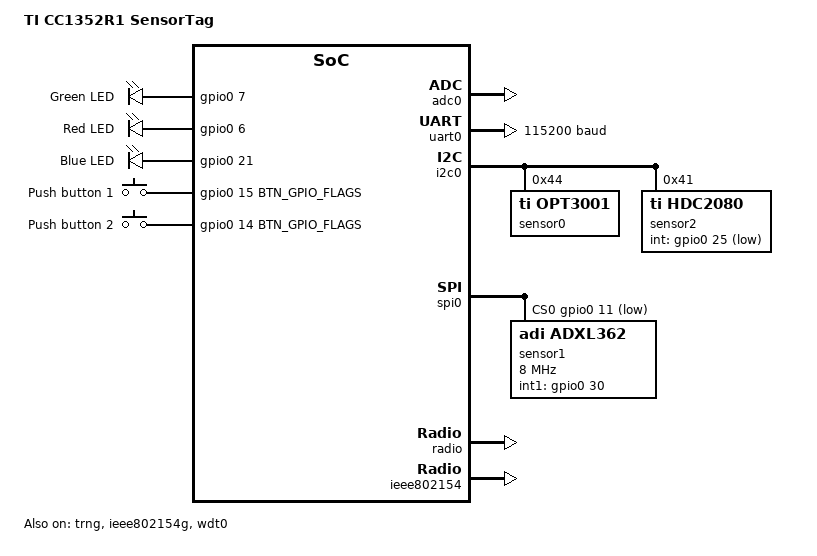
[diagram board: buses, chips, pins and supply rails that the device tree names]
/*
 * Copyright (c) 2019 Brett Witherspoon
 * Copyright (c) 2020 Friedt Professional Engineering Services, Inc
 *
 * SPDX-License-Identifier: Apache-2.0
 */

/dts-v1/;

#include <ti/cc1352r.dtsi>
#include "../common/boosterpack_connector.dtsi"
#include "cc1352r_sensortag-pinctrl.dtsi"
#include <zephyr/dt-bindings/input/input-event-codes.h>

#define BTN_GPIO_FLAGS (GPIO_ACTIVE_LOW | GPIO_PULL_UP)

/ {
	model = "TI CC1352R1 SensorTag";
	compatible = "ti,sensortag-cc1352r";

	aliases {
		led0 = &led0;
		led1 = &led1;
		led2 = &led2;
		sw0 = &btn0;
		sw1 = &btn1;
		sensor0 = &sensor0;
		sensor1 = &sensor1;
		sensor2 = &sensor2;
		accel0 = &sensor1;
		watchdog0 = &wdt0;
		mcuboot-led0 = &led1;
		mcuboot-button0 = &btn1;
	};

	chosen {
		zephyr,sram = &sram0;
		zephyr,flash = &flash0;
		zephyr,console = &uart0;
		zephyr,shell-uart = &uart0;
		zephyr,ieee802154 = &ieee802154;
		zephyr,code-partition = &slot0_partition;
	};

	leds {
		compatible = "gpio-leds";

		led0: led_0 {
			gpios = <&gpio0 7 GPIO_ACTIVE_HIGH>;
			label = "Green LED";
		};

		led1: led_1 {
			gpios = <&gpio0 6 GPIO_ACTIVE_HIGH>;
			label = "Red LED";
		};

		led2: led_2 {
			gpios = <&gpio0 21 GPIO_ACTIVE_HIGH>;
			label = "Blue LED";
		};
	};

	keys {
		compatible = "gpio-keys";

		btn0: btn_0 {
			gpios = <&gpio0 15 BTN_GPIO_FLAGS>;
			label = "Push button 1";
			zephyr,code = <INPUT_KEY_0>;
		};

		btn1: btn_1 {
			gpios = <&gpio0 14 BTN_GPIO_FLAGS>;
			label = "Push button 2";
			zephyr,code = <INPUT_KEY_1>;
		};
	};
};

&flash0 {
	partitions {
		/* 40 KiB (0xa000) for MCUboot */
		boot_partition: partition@0 {
			label = "mcuboot";
			reg = <0x00000000 0x0000a000>;
		};

		/* 136 KiB (0x22000) per slot for application */
		slot0_partition: partition@a000 {
			label = "image-0";
			reg = <0x0000a000 0x00022000>;
		};

		slot1_partition: partition@2c000 {
			label = "image-1";
			reg = <0x0002c000 0x00022000>;
		};

		/* 32 KiB (0x8000) for storage */
		storage_partition: partition@4e000 {
			label = "storage";
			reg = <0x0004e000 0x00008000>;
		};

		/* CCFG (customer configuration area) is located in uppermost
		 * flash sector (0x2000/8 KiB @ 0x56000), keep it unused.
		 */
	};
};

&cpu0 {
	clock-frequency = <48000000>;
};

&trng {
	status = "okay";
};

&gpio0 {
	status = "okay";
};

&adc0 {
	status = "okay";
};

&uart0 {
	status = "okay";
	current-speed = <115200>;
	pinctrl-0 = <&uart0_rx_default &uart0_tx_default>;
	pinctrl-names = "default";
};

&i2c0 {
	status = "okay";
	pinctrl-0 = <&i2c0_scl_default &i2c0_sda_default>;
	pinctrl-1 = <&i2c0_scl_sleep &i2c0_sda_sleep>;
	pinctrl-names = "default", "sleep";

	sensor0: sensor@44 {
		compatible = "ti,opt3001";
		reg = <0x44>;
	};

	sensor2: sensor@41 {
		compatible = "ti,hdc2080";
		reg = <0x41>;
		int-gpios = <&gpio0 25 GPIO_ACTIVE_LOW>;
	};
};

&spi0 {
	status = "okay";
	pinctrl-0 = <&spi0_sck_default &spi0_mosi_default
		     &spi0_miso_default>;
	pinctrl-names = "default";
	cs-gpios = <&gpio0 11 GPIO_ACTIVE_LOW>;

	sensor1: sensor@0 {
		compatible = "adi,adxl362";
		reg = <0>;
		int1-gpios = <&gpio0 30 GPIO_ACTIVE_HIGH>;
		spi-max-frequency = <8000000>;
	};

	/* TODO: "jedec,spi-nor" for the mx25r8035 */
};

&radio {
	status = "okay";
};

&ieee802154 {
	status = "okay";
};

&ieee802154g {
	status = "okay";
};

&wdt0 {
	status = "okay";
};
